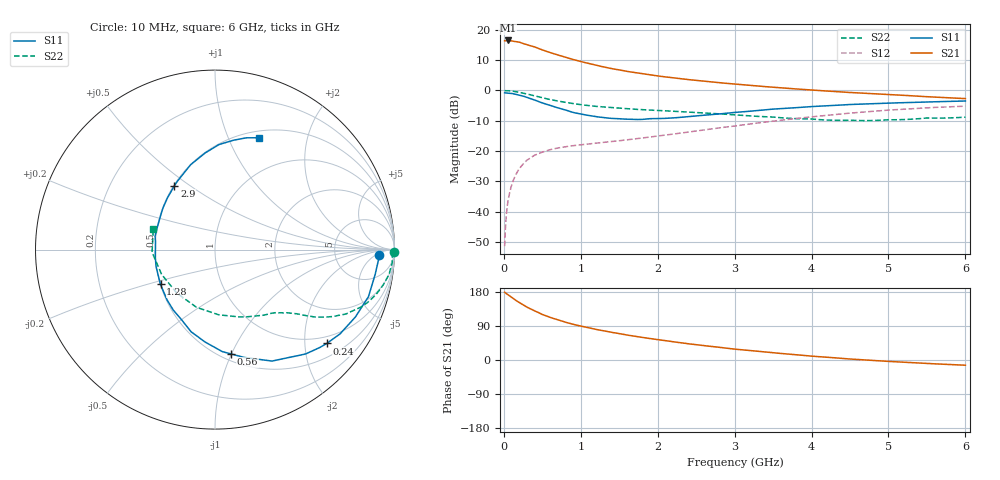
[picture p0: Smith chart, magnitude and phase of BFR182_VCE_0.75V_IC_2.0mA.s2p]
! Infineon Technologies  Discrete & RF Semiconductors
! BFR182
! VCE = 0.75 V,  IC =  2.0 mA
! Common Emitter S-Parameters:  Nov 2015
# GHz  S  MA  R  50
!  f  S11  S21  S12  S22
! GHz  MAG  ANG  MAG  ANG  MAG  ANG  MAG  ANG
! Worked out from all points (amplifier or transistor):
!   210 points, 10 MHz to 6 GHz, reference 50 ohm
!   highest |S21| = 16.5 dB at 50 MHz (marker M1)
!   |S21| within 3 dB of that: start of sweep to 487.7 MHz
!   unconditionally stable (mu >= 1): 1.388 GHz to 3.419 GHz
!   at 185 MHz: K = 0.18, MSG = 21.2 dB, |S12| = -26.4 dB
!   at 1.52 GHz: K = 1.04, MAG = 10.4 dB, |S12| = -16.5 dB
!   at 6 GHz: K = 0.95, MSG = 1.2 dB, |S12| = -5.2 dB
!   S11 on the Smith chart (normalised r, x): 10 MHz: 19, -7; 240 MHz: 0.82, -2.52; 560 MHz: 0.56, -1.00; 1.28 GHz: 0.50, -0.22; 2.9 GHz: 0.51, +0.44; 6 GHz: 0.58, +1.30
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0.01  0.9131 -1.9  6.601 178.9  0.0027 91.3  0.9947 -0.9
0.025  0.9106 -4.4  6.584 176.3  0.0066 85.7  0.9883 -2.1
0.05  0.9031 -8.8  6.672 172.8  0.0139 85.2  0.9901 -4.1
0.1  0.8943 -17.1  6.571 166.0  0.027 80.1  0.9794 -8.2
0.15  0.8674 -25.7  6.401 158.1  0.0396 75.2  0.9568 -12.0
0.2  0.8401 -34.0  6.26 151.7  0.0511 71.2  0.9321 -15.5
0.24  0.8132 -40.0  6.001 146.8  0.059 67.2  0.909 -18.1
0.3  0.7702 -49.0  5.679 139.6  0.0707 63.7  0.8752 -21.4
0.4  0.6976 -62.9  5.225 129.6  0.0853 57.3  0.8141 -26.1
0.5  0.622 -74.9  4.661 120.1  0.0959 52.9  0.755 -29.6
0.56  0.588 -81.3  4.385 115.8  0.1015 50.8  0.7268 -31.1
0.7  0.5172 -96.3  3.854 105.8  0.1123 47.2  0.6692 -34.1
0.8  0.4769 -106.2  3.512 99.6  0.1181 45.3  0.6366 -35.5
1.02  0.4042 -126.3  2.955 88.4  0.1276 44.1  0.5776 -38.2
1.28  0.3592 -147.4  2.469 77.7  0.1388 44.0  0.5356 -41.1
1.6  0.3354 -172.2  2.061 65.9  0.1531 45.4  0.5024 -44.6
2.02  0.3438 160.9  1.719 53.3  0.1784 48.2  0.4666 -50.3
2.9  0.4207 122.5  1.307 31.2  0.2501 49.0  0.4038 -68.3
3.1  0.4433 116.3  1.243 26.9  0.2694 48.1  0.3879 -73.8
4.1  0.5494 94.1  0.996 8.8  0.3775 40.2  0.3301 -112.3
5.1  0.6232 79.1  0.844 -4.7  0.4823 27.5  0.3284 -159.8
6  0.6693 68.6  0.733 -13.8  0.5503 13.9  0.3627 161.3
